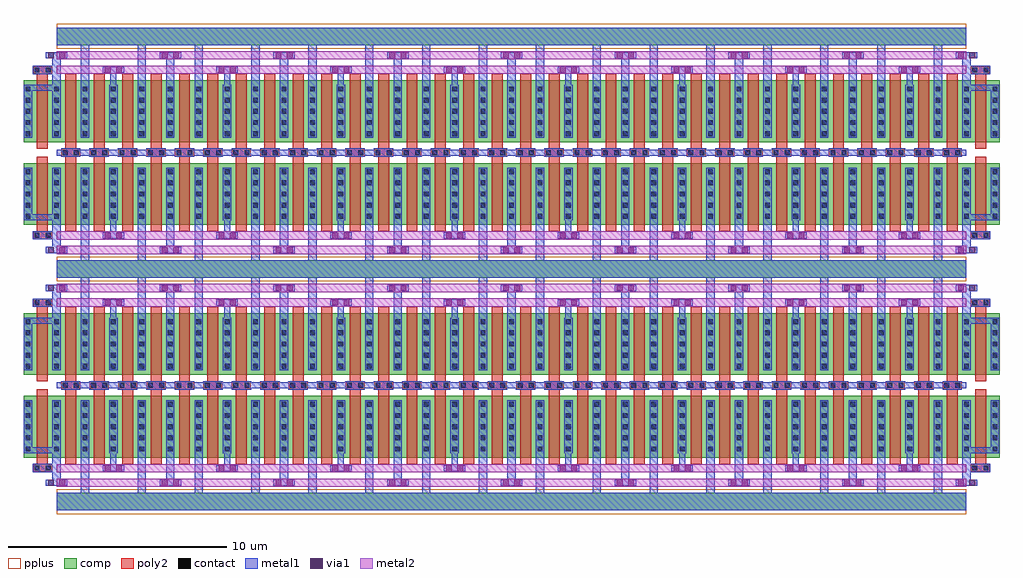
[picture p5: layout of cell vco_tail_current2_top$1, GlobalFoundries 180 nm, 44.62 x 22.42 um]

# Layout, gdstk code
from math import pi, radians
import gdstk
lib = gdstk.Library(unit=1e-6, precision=5e-09)
def R(c, l, rs):  # rectangles x0, y0, x1, y1
    for r in rs: c.add(gdstk.rectangle(r[:2], r[2:], *l))
def A(c, l, x, y, w, h, nx, ny, dx, dy):  # array of equal rectangles
    R(c, l, [(x+i*dx, y+j*dy, x+i*dx+w, y+j*dy+h) for i in range(nx) for j in range(ny)])
comp = (22, 0)
poly2 = (30, 0)
pplus = (31, 0)
contact = (33, 0)
metal1 = (34, 0)
via1 = (35, 0)
metal2 = (36, 0)

vco_tail_current_ncell2_ = lib.new_cell('vco_tail_current_ncell2_1$1$2')
R(vco_tail_current_ncell2_, comp, [(0,0.3,0.42,3.12), (0.42,0.3,1.3,3.12), (1.3,0.3,1.72,3.12)])
R(vco_tail_current_ncell2_, poly2, [(0.61,0,1.11,3.42)])
A(vco_tail_current_ncell2_, contact, 0.1, 0.58, 0.22, 0.22, 1, 5, 0, 0.51)
A(vco_tail_current_ncell2_, contact, 1.4, 0.58, 0.22, 0.22, 1, 5, 0, 0.51)
R(vco_tail_current_ncell2_, metal1, [(0.02,0.5,0.4,2.92), (1.32,0.5,1.7,2.92)])

c_vco_tail_current_ncell2_ = lib.new_cell('vco_tail_current_ncell2_1_2$1')
R(c_vco_tail_current_ncell2_, poly2, [(0.41,0.01,1.28,0.37), (0.41,0.01,1.28,0.37), (0.41,7.57,1.28,7.93), (0.41,7.57,1.28,7.93)])
R(c_vco_tail_current_ncell2_, contact, [(0.48,0.08,0.7,0.3), (0.48,0.08,0.7,0.3), (0.99,0.08,1.21,0.3), (0.99,0.08,1.21,0.3), (0.48,7.64,0.7,7.86), (0.48,7.64,0.7,7.86), (0.99,7.64,1.21,7.86), (0.99,7.64,1.21,7.86)])
R(c_vco_tail_current_ncell2_, metal1, [(0.4,0,1.29,0.38), (0.4,0,1.29,0.38), (0.4,7.56,1.29,7.94), (0.4,7.56,1.29,7.94)])
c_vco_tail_current_ncell2_.add(gdstk.FlexPath([(1.32,1.01),(0.4,1.01)], 0.28, ends="flush", simple_path=True, layer=34, datatype=0))  # metal1
c_vco_tail_current_ncell2_.add(gdstk.FlexPath([(1.32,6.93),(0.4,6.93)], 0.28, ends="flush", simple_path=True, layer=34, datatype=0))  # metal1
c_vco_tail_current_ncell2_.add(gdstk.Reference(vco_tail_current_ncell2_, (0,0.37)))
c_vco_tail_current_ncell2_.add(gdstk.Reference(vco_tail_current_ncell2_, (0,7.57), x_reflection=True))

c_vco_tail_current_ncell2__ = lib.new_cell('vco_tail_current_ncell2_1$1$1$1')
R(c_vco_tail_current_ncell2__, comp, [(0,0.3,0.42,3.12), (0.42,0.3,1.3,3.12), (1.3,0.3,1.72,3.12)])
R(c_vco_tail_current_ncell2__, poly2, [(0.61,0,1.11,3.42)])
A(c_vco_tail_current_ncell2__, contact, 0.1, 0.58, 0.22, 0.22, 1, 5, 0, 0.51)
A(c_vco_tail_current_ncell2__, contact, 1.4, 0.58, 0.22, 0.22, 1, 5, 0, 0.51)
R(c_vco_tail_current_ncell2__, metal1, [(0.02,0.5,0.4,2.92), (1.32,0.5,1.7,2.92)])

c_vco_tail_current_ncell2___ = lib.new_cell('vco_tail_current_ncell2_4$1$1')
A(c_vco_tail_current_ncell2___, poly2, 0.425, 3.42, 0.87, 0.36, 4, 1, 1.3, 0)
R(c_vco_tail_current_ncell2___, contact, [(0.495,3.49,0.715,3.71), (1.005,3.49,1.225,3.71), (1.795,3.49,2.015,3.71), (2.305,3.49,2.525,3.71), (3.095,3.49,3.315,3.71), (3.605,3.49,3.825,3.71), (4.395,3.49,4.615,3.71), (4.905,3.49,5.125,3.71)])
A(c_vco_tail_current_ncell2___, metal1, 0.415, 3.41, 0.89, 0.38, 4, 1, 1.3, 0)
c_vco_tail_current_ncell2___.add(gdstk.Reference(c_vco_tail_current_ncell2__, (0,0)))
c_vco_tail_current_ncell2___.add(gdstk.Reference(c_vco_tail_current_ncell2__, (1.3,0)))
c_vco_tail_current_ncell2___.add(gdstk.Reference(c_vco_tail_current_ncell2__, (2.6,0)))
c_vco_tail_current_ncell2___.add(gdstk.Reference(c_vco_tail_current_ncell2__, (3.9,0)))

c_vco_tail_current_ncell2____ = lib.new_cell('vco_tail_current_ncell2_4_4$1')
R(c_vco_tail_current_ncell2____, via1, [(0.1,1.31,0.36,1.57), (0.62,1.31,0.88,1.57), (5.3,1.31,5.56,1.57), (5.82,1.31,6.08,1.57), (2.695,1.97,2.955,2.23), (3.215,1.97,3.475,2.23), (2.695,9.55,2.955,9.81), (3.215,9.55,3.475,9.81), (0.1,10.21,0.36,10.47), (0.62,10.21,0.88,10.47), (5.3,10.21,5.56,10.47), (5.82,10.21,6.08,10.47)])
c_vco_tail_current_ncell2____.add(gdstk.FlexPath([(0.485,8.99),(0.485,10.2)], 0.38, ends="flush", simple_path=True, layer=34, datatype=0))  # metal1
c_vco_tail_current_ncell2____.add(gdstk.FlexPath([(0,10.34),(0.98,10.34)], 0.28, ends="flush", simple_path=True, layer=34, datatype=0))  # metal1
c_vco_tail_current_ncell2____.add(gdstk.FlexPath([(1.785,10.81),(1.785,8.99)], 0.38, ends="flush", simple_path=True, layer=34, datatype=0))  # metal1
c_vco_tail_current_ncell2____.add(gdstk.FlexPath([(2.595,9.68),(3.575,9.68)], 0.28, ends="flush", simple_path=True, layer=34, datatype=0))  # metal1
c_vco_tail_current_ncell2____.add(gdstk.FlexPath([(3.085,8.99),(3.085,9.54)], 0.28, ends="flush", simple_path=True, layer=34, datatype=0))  # metal1
c_vco_tail_current_ncell2____.add(gdstk.FlexPath([(4.385,10.81),(4.385,8.99)], 0.38, ends="flush", simple_path=True, layer=34, datatype=0))  # metal1
c_vco_tail_current_ncell2____.add(gdstk.FlexPath([(5.685,8.99),(5.685,10.2)], 0.38, ends="flush", simple_path=True, layer=34, datatype=0))  # metal1
c_vco_tail_current_ncell2____.add(gdstk.FlexPath([(5.2,10.34),(6.18,10.34)], 0.28, ends="flush", simple_path=True, layer=34, datatype=0))  # metal1
c_vco_tail_current_ncell2____.add(gdstk.FlexPath([(0.485,11.21),(5.685,11.21)], 0.8, ends="flush", simple_path=True, layer=34, datatype=0))  # metal1
c_vco_tail_current_ncell2____.add(gdstk.FlexPath([(0.485,2.79),(0.485,1.58)], 0.38, ends="flush", simple_path=True, layer=34, datatype=0))  # metal1
c_vco_tail_current_ncell2____.add(gdstk.FlexPath([(0,1.44),(0.98,1.44)], 0.28, ends="flush", simple_path=True, layer=34, datatype=0))  # metal1
c_vco_tail_current_ncell2____.add(gdstk.FlexPath([(1.785,0.97),(1.785,2.79)], 0.38, ends="flush", simple_path=True, layer=34, datatype=0))  # metal1
c_vco_tail_current_ncell2____.add(gdstk.FlexPath([(2.595,2.1),(3.575,2.1)], 0.28, ends="flush", simple_path=True, layer=34, datatype=0))  # metal1
c_vco_tail_current_ncell2____.add(gdstk.FlexPath([(3.085,2.79),(3.085,2.24)], 0.28, ends="flush", simple_path=True, layer=34, datatype=0))  # metal1
c_vco_tail_current_ncell2____.add(gdstk.FlexPath([(4.385,0.97),(4.385,2.79)], 0.38, ends="flush", simple_path=True, layer=34, datatype=0))  # metal1
c_vco_tail_current_ncell2____.add(gdstk.FlexPath([(5.685,2.79),(5.685,1.58)], 0.38, ends="flush", simple_path=True, layer=34, datatype=0))  # metal1
c_vco_tail_current_ncell2____.add(gdstk.FlexPath([(5.2,1.44),(6.18,1.44)], 0.28, ends="flush", simple_path=True, layer=34, datatype=0))  # metal1
c_vco_tail_current_ncell2____.add(gdstk.FlexPath([(0.485,0.57),(5.685,0.57)], 0.8, ends="flush", simple_path=True, layer=34, datatype=0))  # metal1
c_vco_tail_current_ncell2____.add(gdstk.FlexPath([(5.685,5.89),(0.485,5.89)], 0.28, ends="flush", simple_path=True, layer=34, datatype=0))  # metal1
c_vco_tail_current_ncell2____.add(gdstk.FlexPath([(0.485,11.21),(5.685,11.21)], 0.8, ends="flush", simple_path=True, layer=22, datatype=0))  # comp
c_vco_tail_current_ncell2____.add(gdstk.FlexPath([(0.485,0.57),(5.685,0.57)], 0.8, ends="flush", simple_path=True, layer=22, datatype=0))  # comp
c_vco_tail_current_ncell2____.add(gdstk.FlexPath([(0.485,10.34),(5.685,10.34)], 0.38, ends="flush", simple_path=True, layer=36, datatype=0))  # metal2
c_vco_tail_current_ncell2____.add(gdstk.FlexPath([(0.485,9.68),(5.685,9.68)], 0.38, ends="flush", simple_path=True, layer=36, datatype=0))  # metal2
c_vco_tail_current_ncell2____.add(gdstk.FlexPath([(0.485,1.44),(5.685,1.44)], 0.38, ends="flush", simple_path=True, layer=36, datatype=0))  # metal2
c_vco_tail_current_ncell2____.add(gdstk.FlexPath([(0.485,2.1),(5.685,2.1)], 0.38, ends="flush", simple_path=True, layer=36, datatype=0))  # metal2
c_vco_tail_current_ncell2____.add(gdstk.FlexPath([(0.485,11.21),(5.685,11.21)], 1.14, ends="flush", simple_path=True, layer=31, datatype=0))  # pplus
c_vco_tail_current_ncell2____.add(gdstk.FlexPath([(0.485,0.57),(5.685,0.57)], 1.14, ends="flush", simple_path=True, layer=31, datatype=0))  # pplus
c_vco_tail_current_ncell2____.add(gdstk.Reference(c_vco_tail_current_ncell2___, (0.275,2.29)))
c_vco_tail_current_ncell2____.add(gdstk.Reference(c_vco_tail_current_ncell2___, (0.275,9.49), x_reflection=True))

vco_tail_current2_top_1 = lib.new_cell('vco_tail_current2_top$1')
vco_tail_current2_top_1.add(gdstk.Reference(c_vco_tail_current_ncell2_, (41.875,12.36)))
vco_tail_current2_top_1.add(gdstk.Reference(c_vco_tail_current_ncell2_, (41.875,1.72)))
vco_tail_current2_top_1.add(gdstk.Reference(c_vco_tail_current_ncell2_, (0.695,1.72), rotation=pi, x_reflection=True))
vco_tail_current2_top_1.add(gdstk.Reference(c_vco_tail_current_ncell2_, (0.695,12.36), rotation=pi, x_reflection=True))
vco_tail_current2_top_1.add(gdstk.Reference(c_vco_tail_current_ncell2____, (31.2,-0.2)))
vco_tail_current2_top_1.add(gdstk.Reference(c_vco_tail_current_ncell2____, (15.6,10.44)))
vco_tail_current2_top_1.add(gdstk.Reference(c_vco_tail_current_ncell2____, (20.8,10.44)))
vco_tail_current2_top_1.add(gdstk.Reference(c_vco_tail_current_ncell2____, (26,10.44)))
vco_tail_current2_top_1.add(gdstk.Reference(c_vco_tail_current_ncell2____, (31.2,10.44)))
vco_tail_current2_top_1.add(gdstk.Reference(c_vco_tail_current_ncell2____, (36.4,10.44)))
vco_tail_current2_top_1.add(gdstk.Reference(c_vco_tail_current_ncell2____, (5.2,-0.2)))
vco_tail_current2_top_1.add(gdstk.Reference(c_vco_tail_current_ncell2____, (5.2,10.44)))
vco_tail_current2_top_1.add(gdstk.Reference(c_vco_tail_current_ncell2____, (10.4,-0.2)))
vco_tail_current2_top_1.add(gdstk.Reference(c_vco_tail_current_ncell2____, (10.4,10.44)))
vco_tail_current2_top_1.add(gdstk.Reference(c_vco_tail_current_ncell2____, (0,-0.2)))
vco_tail_current2_top_1.add(gdstk.Reference(c_vco_tail_current_ncell2____, (0,10.44)))
vco_tail_current2_top_1.add(gdstk.Reference(c_vco_tail_current_ncell2____, (20.8,-0.2)))
vco_tail_current2_top_1.add(gdstk.Reference(c_vco_tail_current_ncell2____, (26,-0.2)))
vco_tail_current2_top_1.add(gdstk.Reference(c_vco_tail_current_ncell2____, (15.6,-0.2)))
vco_tail_current2_top_1.add(gdstk.Reference(c_vco_tail_current_ncell2____, (36.4,-0.2)))

lib.write_gds('vco_tail_current2_top_1.gds')
